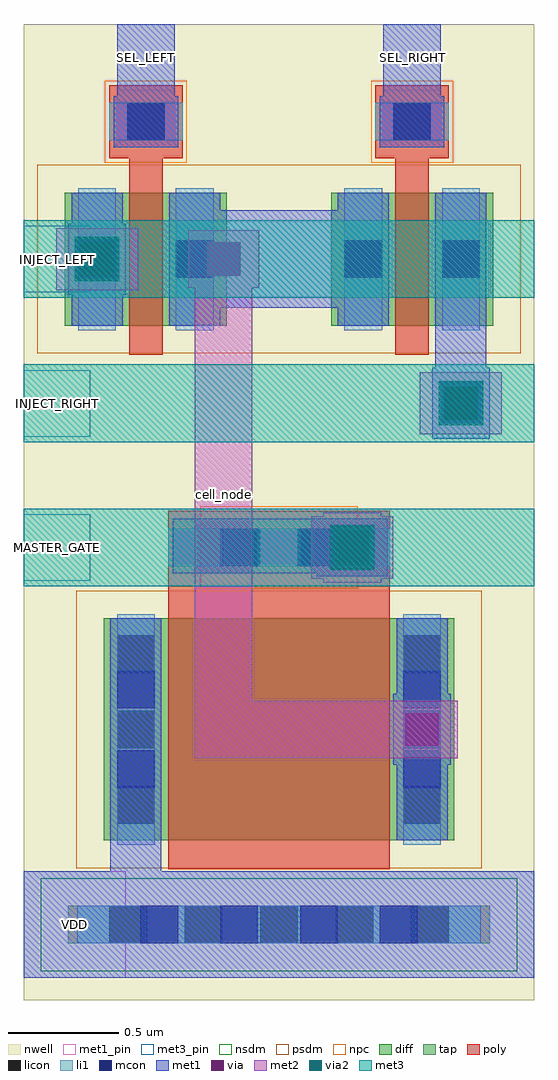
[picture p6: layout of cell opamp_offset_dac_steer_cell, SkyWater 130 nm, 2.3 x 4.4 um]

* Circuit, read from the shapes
.subckt opamp_offset_dac_steer_cell INJECT_LEFT INJECT_RIGHT MASTER_GATE SEL_LEFT SEL_RIGHT VDD cell_node
XM1 cell_node SEL_LEFT INJECT_LEFT VDD sky130_fd_pr__pfet_01v8 w=0.6 l=0.15
XM2 cell_node MASTER_GATE VDD VDD sky130_fd_pr__pfet_01v8 w=1 l=1
XM3 INJECT_RIGHT SEL_RIGHT cell_node VDD sky130_fd_pr__pfet_01v8 w=0.6 l=0.15
.ends

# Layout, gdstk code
import gdstk
lib = gdstk.Library(unit=1e-6, precision=1e-09)
def R(c, l, rs):  # rectangles x0, y0, x1, y1
    for r in rs: c.add(gdstk.rectangle(r[:2], r[2:], *l))
def A(c, l, x, y, w, h, nx, ny, dx, dy):  # array of equal rectangles
    R(c, l, [(x+i*dx, y+j*dy, x+i*dx+w, y+j*dy+h) for i in range(nx) for j in range(ny)])
nwell = (64, 20)
diff = (65, 20)
tap = (65, 44)
poly = (66, 20)
licon = (66, 44)
li1 = (67, 20)
mcon = (67, 44)
met1_pin = (68, 16)
met1 = (68, 20)
via = (68, 44)
met2 = (69, 20)
via2 = (69, 44)
met3_pin = (70, 16)
met3 = (70, 20)
nsdm = (93, 44)
psdm = (94, 20)
npc = (95, 20)

sky130_fd_pr__pfet_01v8_ = lib.new_cell('sky130_fd_pr__pfet_01v8_HRA8HG')
R(sky130_fd_pr__pfet_01v8_, nwell, [(-0.545,-0.79,0.545,0.62)])
R(sky130_fd_pr__pfet_01v8_, diff, [(-0.365,-0.48,0.365,0.12)])
R(sky130_fd_pr__pfet_01v8_, poly, [(-0.075,-0.61,0.075,0.275), (-0.165,0.275,0.165,0.605)])
R(sky130_fd_pr__pfet_01v8_, licon, [(-0.305,-0.265,-0.135,-0.095), (0.135,-0.265,0.305,-0.095), (-0.085,0.355,0.085,0.525)])
R(sky130_fd_pr__pfet_01v8_, li1, [(-0.305,-0.5,-0.135,0.14), (0.135,-0.5,0.305,0.14), (-0.165,0.355,0.165,0.525)])
R(sky130_fd_pr__pfet_01v8_, mcon, [(-0.305,-0.265,-0.135,-0.095), (0.135,-0.265,0.305,-0.095), (-0.085,0.355,0.085,0.525)])
R(sky130_fd_pr__pfet_01v8_, met1, [(-0.335,-0.48,-0.105,0.12), (0.105,-0.48,0.335,0.12), (-0.145,0.325,0.145,0.555)])
R(sky130_fd_pr__pfet_01v8_, psdm, [(-0.49,-0.605,0.49,0.245)])
R(sky130_fd_pr__pfet_01v8_, npc, [(-0.185,0.255,0.185,0.625)])
sky130_fd_pr__pfet_01v8_.add(gdstk.Label('G', (0,0.44), layer=67, texttype=5))
sky130_fd_pr__pfet_01v8_.add(gdstk.Label('S', (0.22,-0.18), layer=67, texttype=5))
sky130_fd_pr__pfet_01v8_.add(gdstk.Label('D', (-0.22,-0.18), layer=67, texttype=5))

c_sky130_fd_pr__pfet_01v8_ = lib.new_cell('sky130_fd_pr__pfet_01v8_25ZSNM')
R(c_sky130_fd_pr__pfet_01v8_, nwell, [(-0.97,-0.99,0.97,0.82)])
R(c_sky130_fd_pr__pfet_01v8_, diff, [(-0.79,-0.68,0.79,0.32)])
R(c_sky130_fd_pr__pfet_01v8_, poly, [(-0.5,-0.81,0.5,0.805)])
A(c_sky130_fd_pr__pfet_01v8_, licon, -0.73, -0.605, 0.17, 0.17, 1, 3, 0, 0.34)
A(c_sky130_fd_pr__pfet_01v8_, licon, 0.56, -0.605, 0.17, 0.17, 1, 3, 0, 0.34)
R(c_sky130_fd_pr__pfet_01v8_, licon, [(-0.255,0.555,-0.085,0.725), (0.085,0.555,0.255,0.725)])
R(c_sky130_fd_pr__pfet_01v8_, li1, [(-0.73,-0.7,-0.56,0.34), (0.56,-0.7,0.73,0.34), (-0.5,0.555,0.5,0.725)])
R(c_sky130_fd_pr__pfet_01v8_, mcon, [(-0.73,-0.445,-0.56,-0.275), (0.56,-0.445,0.73,-0.275), (-0.73,-0.085,-0.56,0.085), (0.56,-0.085,0.73,0.085), (-0.265,0.555,-0.095,0.725), (0.095,0.555,0.265,0.725)])
R(c_sky130_fd_pr__pfet_01v8_, met1, [(-0.76,-0.68,-0.53,0.32), (0.53,-0.68,0.76,0.32), (-0.48,0.525,0.48,0.755)])
R(c_sky130_fd_pr__pfet_01v8_, psdm, [(-0.915,-0.805,0.915,0.445)])
R(c_sky130_fd_pr__pfet_01v8_, npc, [(-0.355,0.455,0.355,0.825)])
c_sky130_fd_pr__pfet_01v8_.add(gdstk.Label('G', (0,0.64), layer=67, texttype=5))
c_sky130_fd_pr__pfet_01v8_.add(gdstk.Label('S', (0.645,-0.18), layer=67, texttype=5))
c_sky130_fd_pr__pfet_01v8_.add(gdstk.Label('D', (-0.645,-0.18), layer=67, texttype=5))

opamp_offset_dac_steer_c = lib.new_cell('opamp_offset_dac_steer_cell')
R(opamp_offset_dac_steer_c, nwell, [(0,-0.1,2.3,4.3)])
R(opamp_offset_dac_steer_c, tap, [(0.2,0.155,2.1,0.325)])
A(opamp_offset_dac_steer_c, licon, 0.385, 0.155, 0.17, 0.17, 5, 1, 0.34, 0)
R(opamp_offset_dac_steer_c, li1, [(0.24,0.155,2.06,0.325)])
A(opamp_offset_dac_steer_c, mcon, 0.525, 0.155, 0.17, 0.17, 4, 1, 0.36, 0)
R(opamp_offset_dac_steer_c, met1_pin, [(0,0,0.46,0.48), (0.42,4,0.68,4.3), (1.62,4,1.88,4.3)])
R(opamp_offset_dac_steer_c, met1, [(0,0,2.3,0.48), (0.39,0.48,0.62,1.62), (1.665,0.96,1.925,1.28), (1.32,1.81,1.64,1.825), (0.67,1.825,1.64,2.07), (1.84,2.43,2.1,2.75), (1.855,2.75,2.085,3.54), (0.655,3.02,1.645,3.46), (0.2,3.08,0.46,3.4), (0.42,3.745,0.68,4.3), (1.62,3.745,1.88,4.3)])
R(opamp_offset_dac_steer_c, via, [(1.72,1.045,1.87,1.195), (1.405,1.865,1.555,2.015), (1.895,2.515,2.045,2.665), (0.255,3.165,0.405,3.315), (0.825,3.165,0.975,3.315)])
R(opamp_offset_dac_steer_c, met2, [(0.77,0.99,1.955,1.25), (0.77,1.25,1.03,3.11), (1.35,1.78,1.61,1.8), (1.295,1.8,1.665,2.08), (1.35,2.08,1.61,2.1), (1.785,2.45,2.155,2.73), (0.145,3.1,0.515,3.38), (0.74,3.11,1.06,3.37)])
R(opamp_offset_dac_steer_c, via2, [(1.38,1.84,1.58,2.04), (1.87,2.49,2.07,2.69), (0.23,3.14,0.43,3.34)])
A(opamp_offset_dac_steer_c, met3_pin, 0, 1.79, 0.3, 0.3, 1, 3, 0, 0.65)
A(opamp_offset_dac_steer_c, met3, 0, 1.765, 2.3, 0.35, 1, 3, 0, 0.65)
R(opamp_offset_dac_steer_c, nsdm, [(0.075,0.03,2.225,0.45)])
R(opamp_offset_dac_steer_c, psdm, [(1.04,2.815,1.26,3.665)])
opamp_offset_dac_steer_c.add(gdstk.Reference(sky130_fd_pr__pfet_01v8_, (0.55,3.42)))
opamp_offset_dac_steer_c.add(gdstk.Reference(sky130_fd_pr__pfet_01v8_, (1.75,3.42)))
opamp_offset_dac_steer_c.add(gdstk.Reference(c_sky130_fd_pr__pfet_01v8_, (1.15,1.3)))
opamp_offset_dac_steer_c.add(gdstk.Label('SEL_RIGHT', (1.75,4.15), layer=68, texttype=5))
opamp_offset_dac_steer_c.add(gdstk.Label('VDD', (0.23,0.24), layer=68, texttype=5))
opamp_offset_dac_steer_c.add(gdstk.Label('SEL_LEFT', (0.55,4.15), layer=68, texttype=5))
opamp_offset_dac_steer_c.add(gdstk.Label('INJECT_LEFT', (0.15,3.24), layer=70, texttype=5))
opamp_offset_dac_steer_c.add(gdstk.Label('INJECT_RIGHT', (0.15,2.59), layer=70, texttype=5))
opamp_offset_dac_steer_c.add(gdstk.Label('MASTER_GATE', (0.15,1.94), layer=70, texttype=5))
opamp_offset_dac_steer_c.add(gdstk.Label('cell_node', (0.9,2.18), layer=69, texttype=5))

lib.write_gds('opamp_offset_dac_steer_cell.gds')
